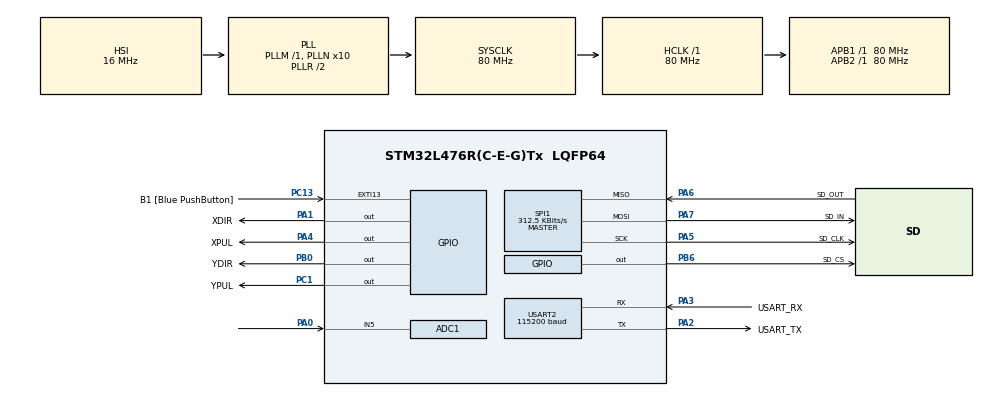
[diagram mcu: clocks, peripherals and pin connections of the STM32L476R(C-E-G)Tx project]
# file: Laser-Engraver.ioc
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ADC1.Channel-1\#ChannelRegularConversion=ADC_CHANNEL_5
ADC1.NbrOfConversionFlag=1
ADC1.OffsetNumber-1\#ChannelRegularConversion=ADC_OFFSET_NONE
ADC1.Rank-1\#ChannelRegularConversion=1
ADC1.SamplingTime-1\#ChannelRegularConversion=ADC_SAMPLETIME_2CYCLES_5
ADC1.master=1
FREERTOS.Tasks01=defaultTask,24,128,StartDefaultTask,Default,NULL,Dynamic,NULL,NULL;turnXMotor,8,128,StartXMotor,Default,NULL,Dynamic,NULL,NULL;turnYMotor,8,128,StartYMotor,Default,NULL,Dynamic,NULL,NULL
FREERTOS.configUSE_NEWLIB_REENTRANT=1
Mcu.Family=STM32L4
Mcu.Name=STM32L476R(C-E-G)Tx
Mcu.Package=LQFP64
NVIC.EXTI15_10_IRQn=true\:5\:0\:false\:false\:true\:true\:true\:true\:true
NVIC.PriorityGroup=NVIC_PRIORITYGROUP_4
NVIC.TIM1_TRG_COM_TIM17_IRQn=true\:5\:0\:false\:false\:true\:true\:true\:true\:true
NVIC.TIM1_UP_TIM16_IRQn=true\:5\:0\:false\:false\:true\:true\:true\:true\:true
NVIC.TIM3_IRQn=true\:15\:0\:false\:false\:true\:false\:false\:true\:true
NVIC.TimeBase=TIM3_IRQn
NVIC.TimeBaseIP=TIM3
PA0.Signal=ADCx_IN5
PA1.GPIO_Label=XDIR
PA1.GPIO_PuPd=GPIO_NOPULL
PA1.PinState=GPIO_PIN_SET
PA1.Signal=GPIO_Output
PA13\ (JTMS-SWDIO).GPIO_Label=TMS
PA13\ (JTMS-SWDIO).Mode=Serial_Wire
PA13\ (JTMS-SWDIO).Signal=SYS_JTMS-SWDIO
PA14\ (JTCK-SWCLK).GPIO_Label=TCK
PA14\ (JTCK-SWCLK).Mode=Serial_Wire
PA14\ (JTCK-SWCLK).Signal=SYS_JTCK-SWCLK
PA2.GPIO_Label=USART_TX
PA2.GPIO_Mode=GPIO_MODE_AF_PP
PA2.GPIO_PuPd=GPIO_NOPULL
PA2.GPIO_Speed=GPIO_SPEED_FREQ_VERY_HIGH
PA2.Mode=Asynchronous
PA2.Signal=USART2_TX
PA3.GPIO_Label=USART_RX
PA3.GPIO_Mode=GPIO_MODE_AF_PP
PA3.GPIO_PuPd=GPIO_NOPULL
PA3.GPIO_Speed=GPIO_SPEED_FREQ_VERY_HIGH
PA3.Mode=Asynchronous
PA3.Signal=USART2_RX
PA4.GPIO_Label=XPUL
PA4.PinState=GPIO_PIN_SET
PA4.Signal=GPIO_Output
PA5.GPIO_Label=SD_CLK
PA5.GPIO_PuPd=GPIO_PULLUP
PA5.Mode=Full_Duplex_Master
PA5.Signal=SPI1_SCK
PA6.GPIO_Label=SD_OUT
PA6.GPIO_PuPd=GPIO_PULLUP
PA6.Mode=Full_Duplex_Master
PA6.Signal=SPI1_MISO
PA7.GPIO_Label=SD_IN
PA7.GPIO_PuPd=GPIO_PULLUP
PA7.Mode=Full_Duplex_Master
PA7.Signal=SPI1_MOSI
PB0.GPIO_Label=YDIR
PB0.PinState=GPIO_PIN_SET
PB0.Signal=GPIO_Output
PB3\ (JTDO-TRACESWO).GPIO_Label=SWO
PB3\ (JTDO-TRACESWO).Signal=SYS_JTDO-SWO
PB6.GPIO_Label=SD_CS
PB6.GPIO_PuPd=GPIO_PULLUP
PB6.PinState=GPIO_PIN_SET
PB6.Signal=GPIO_Output
PC1.GPIO_Label=YPUL
PC1.PinState=GPIO_PIN_SET
PC1.Signal=GPIO_Output
PC13.GPIO_Label=B1 [Blue PushButton]
PC13.GPIO_ModeDefaultEXTI=GPIO_MODE_IT_FALLING
PC13.GPIO_PuPd=GPIO_NOPULL
PC13.Signal=GPXTI13
PC14-OSC32_IN\ (PC14).Mode=LSE-External-Oscillator
PC14-OSC32_IN\ (PC14).Signal=RCC_OSC32_IN
PC15-OSC32_OUT\ (PC15).Mode=LSE-External-Oscillator
PC15-OSC32_OUT\ (PC15).Signal=RCC_OSC32_OUT
PH0-OSC_IN\ (PH0).Signal=RCC_OSC_IN
PH1-OSC_OUT\ (PH1).Signal=RCC_OSC_OUT
ProjectManager.HeapSize=0x200
ProjectManager.StackSize=0x400
ProjectManager.TargetToolchain=STM32CubeIDE
RCC.ADCFreq_Value=64000000
RCC.AHBFreq_Value=80000000
RCC.APB1Freq_Value=80000000
RCC.APB1TimFreq_Value=80000000
RCC.APB2Freq_Value=80000000
RCC.APB2TimFreq_Value=80000000
RCC.CortexFreq_Value=80000000
RCC.HCLKFreq_Value=80000000
RCC.HSE_VALUE=8000000
RCC.HSI_VALUE=16000000
RCC.MSI_VALUE=4000000
RCC.PLLN=10
RCC.PLLSourceVirtual=RCC_PLLSOURCE_HSI
RCC.PREFETCH_ENABLE=1
RCC.SYSCLKFreq_VALUE=80000000
RCC.SYSCLKSource=RCC_SYSCLKSOURCE_PLLCLK
RCC.USBFreq_Value=64000000
RCC.VCOOutputFreq_Value=160000000
SH.ADCx_IN5.0=ADC1_IN5,IN5-Single-Ended
SPI1.BaudRatePrescaler=SPI_BAUDRATEPRESCALER_256
SPI1.CalculateBaudRate=312.5 KBits/s
SPI1.DataSize=SPI_DATASIZE_8BIT
SPI1.Direction=SPI_DIRECTION_2LINES
SPI1.Mode=SPI_MODE_MASTER
SPI1.VirtualType=VM_MASTER
TIM16.Period=50
TIM16.Prescaler=8000
TIM17.Period=50
TIM17.Prescaler=8000
USART2.BaudRate=115200
USART2.VirtualMode-Asynchronous=VM_ASYNC
VP_FATFS_VS_Generic.Mode=User_defined
VP_FREERTOS_VS_CMSIS_V2.Mode=CMSIS_V2
VP_SYS_VS_tim3.Mode=TIM3
VP_TIM16_VS_ClockSourceINT.Mode=Enable_Timer
VP_TIM17_VS_ClockSourceINT.Mode=Enable_Timer
board=NUCLEO-L476RG

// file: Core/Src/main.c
/* USER CODE BEGIN Header */
/**
  ******************************************************************************
  * @file           : main.c
  * @brief          : Main program body
  ******************************************************************************
  * @attention
  *
  * Copyright (c) 2025 STMicroelectronics.
  * All rights reserved.
  *
  * This software is licensed under terms that can be found in the LICENSE file
  * in the root directory of this software component.
  * If no LICENSE file comes with this software, it is provided AS-IS.
  *
  ******************************************************************************
  */
/* USER CODE END Header */
#include "main.h"
#include "cmsis_os.h"
#include "fatfs.h"

ADC_HandleTypeDef hadc1;

SPI_HandleTypeDef hspi1;

TIM_HandleTypeDef htim16;
TIM_HandleTypeDef htim17;

UART_HandleTypeDef huart2;

/* Definitions for defaultTask */
osThreadId_t defaultTaskHandle;
const osThreadAttr_t defaultTask_attributes = {
  .name = "defaultTask",
  .stack_size = 128 * 4,
  .priority = (osPriority_t) osPriorityNormal,
};
/* Definitions for turnXMotor */
osThreadId_t turnXMotorHandle;
const osThreadAttr_t turnXMotor_attributes = {
  .name = "turnXMotor",
  .stack_size = 128 * 4,
  .priority = (osPriority_t) osPriorityLow,
};
/* Definitions for turnYMotor */
osThreadId_t turnYMotorHandle;
const osThreadAttr_t turnYMotor_attributes = {
  .name = "turnYMotor",
  .stack_size = 128 * 4,
  .priority = (osPriority_t) osPriorityLow,
};
/* USER CODE BEGIN PV */
int Xcurrent = 0; // current X coordinate of laser
int Ycurrent = 0; // current Y coordinate of laser
int XDIR;
int YDIR;
int YMotorTime = 1000;
int XMotorTime = 1000;
int Xend = 100;
int Yend = 100;
/* USER CODE END PV */

void SystemClock_Config(void);
static void MX_GPIO_Init(void);
static void MX_USART2_UART_Init(void);
static void MX_ADC1_Init(void);
static void MX_TIM16_Init(void);
static void MX_TIM17_Init(void);
static void MX_SPI1_Init(void);
void StartDefaultTask(void *argument);
void StartXMotor(void *argument);
void StartYMotor(void *argument);

/* USER CODE BEGIN PFP */
void MotorStraightLine();
/* USER CODE END PFP */

int main(void)
{

  /* MCU Configuration--------------------------------------------------------*/

  /* Reset of all peripherals, Initializes the Flash interface and the Systick. */
  HAL_Init();

  /* Configure the system clock */
  SystemClock_Config();

  /* Initialize all configured peripherals */
  MX_GPIO_Init();
  MX_USART2_UART_Init();
  MX_ADC1_Init();
  MX_TIM16_Init();
  MX_TIM17_Init();
  MX_SPI1_Init();
  MX_FATFS_Init();

  /* Init scheduler */
  osKernelInitialize();

  /* Create the thread(s) */
  /* creation of defaultTask */
  defaultTaskHandle = osThreadNew(StartDefaultTask, NULL, &defaultTask_attributes);

  /* creation of turnXMotor */
  turnXMotorHandle = osThreadNew(StartXMotor, NULL, &turnXMotor_attributes);

  /* creation of turnYMotor */
  turnYMotorHandle = osThreadNew(StartYMotor, NULL, &turnYMotor_attributes);

  /* USER CODE BEGIN RTOS_THREADS */
  /* add threads, ... */
  osThreadNew(StartXMotor, "Start X Motor", &turnXMotor_attributes);
  osThreadNew(StartYMotor, "Start Y Motor", &turnYMotor_attributes);
  /* USER CODE END RTOS_THREADS */

  /* Start scheduler */
  osKernelStart();

  /* We should never get here as control is now taken by the scheduler */

  /* Infinite loop */
  /* USER CODE BEGIN WHILE */
  while (1)
  {
	  /**
	  //starts the ADC timer
	  HAL_ADC_Start(&hadc1);
	  //Waits for the conversion to finish
	  HAL_ADC_PollForConversion(&hadc1, HAL_MAX_DELAY);
	  // Reads the value of the ADC and saves it in potValue
	  int potValue = HAL_ADC_GetValue(&hadc1);

	  HAL_GPIO_TogglePin(XPUL_GPIO_Port, XPUL_Pin);
	  // Waits between .1 and 1 second for next pulse
	  HAL_Delay((800 + potValue) / 8);
	  **/

	  /**
	  int numberoflines = 0;
	  for(int i = 0; i<numberoflines; i++)
	  {

	  }
	  **/
	  Xend = 100;
	  Yend = 100;
	  MotorStraightLine();
	  Xend = 0;
	  Yend = 0;
	  MotorStraightLine();

    /* USER CODE END WHILE */

  }
}

void SystemClock_Config(void)
{
  RCC_OscInitTypeDef RCC_OscInitStruct = {0};
  RCC_ClkInitTypeDef RCC_ClkInitStruct = {0};

  /** Configure the main internal regulator output voltage
  */
  if (HAL_PWREx_ControlVoltageScaling(PWR_REGULATOR_VOLTAGE_SCALE1) != HAL_OK)
  {
    Error_Handler();
  }

  /** Initializes the RCC Oscillators according to the specified parameters
  * in the RCC_OscInitTypeDef structure.
  */
  RCC_OscInitStruct.OscillatorType = RCC_OSCILLATORTYPE_HSI;
  RCC_OscInitStruct.HSIState = RCC_HSI_ON;
  RCC_OscInitStruct.HSICalibrationValue = RCC_HSICALIBRATION_DEFAULT;
  RCC_OscInitStruct.PLL.PLLState = RCC_PLL_ON;
  RCC_OscInitStruct.PLL.PLLSource = RCC_PLLSOURCE_HSI;
  RCC_OscInitStruct.PLL.PLLM = 1;
  RCC_OscInitStruct.PLL.PLLN = 10;
  RCC_OscInitStruct.PLL.PLLP = RCC_PLLP_DIV7;
  RCC_OscInitStruct.PLL.PLLQ = RCC_PLLQ_DIV2;
  RCC_OscInitStruct.PLL.PLLR = RCC_PLLR_DIV2;
  if (HAL_RCC_OscConfig(&RCC_OscInitStruct) != HAL_OK)
  {
    Error_Handler();
  }

  /** Initializes the CPU, AHB and APB buses clocks
  */
  RCC_ClkInitStruct.ClockType = RCC_CLOCKTYPE_HCLK|RCC_CLOCKTYPE_SYSCLK
                              |RCC_CLOCKTYPE_PCLK1|RCC_CLOCKTYPE_PCLK2;
  RCC_ClkInitStruct.SYSCLKSource = RCC_SYSCLKSOURCE_PLLCLK;
  RCC_ClkInitStruct.AHBCLKDivider = RCC_SYSCLK_DIV1;
  RCC_ClkInitStruct.APB1CLKDivider = RCC_HCLK_DIV1;
  RCC_ClkInitStruct.APB2CLKDivider = RCC_HCLK_DIV1;

  if (HAL_RCC_ClockConfig(&RCC_ClkInitStruct, FLASH_LATENCY_4) != HAL_OK)
  {
    Error_Handler();
  }
}

static void MX_ADC1_Init(void)
{

  ADC_MultiModeTypeDef multimode = {0};
  ADC_ChannelConfTypeDef sConfig = {0};

  /** Common config
  */
  hadc1.Instance = ADC1;
  hadc1.Init.ClockPrescaler = ADC_CLOCK_ASYNC_DIV1;
  hadc1.Init.Resolution = ADC_RESOLUTION_12B;
  hadc1.Init.DataAlign = ADC_DATAALIGN_RIGHT;
  hadc1.Init.ScanConvMode = ADC_SCAN_DISABLE;
  hadc1.Init.EOCSelection = ADC_EOC_SINGLE_CONV;
  hadc1.Init.LowPowerAutoWait = DISABLE;
  hadc1.Init.ContinuousConvMode = DISABLE;
  hadc1.Init.NbrOfConversion = 1;
  hadc1.Init.DiscontinuousConvMode = DISABLE;
  hadc1.Init.ExternalTrigConv = ADC_SOFTWARE_START;
  hadc1.Init.ExternalTrigConvEdge = ADC_EXTERNALTRIGCONVEDGE_NONE;
  hadc1.Init.DMAContinuousRequests = DISABLE;
  hadc1.Init.Overrun = ADC_OVR_DATA_PRESERVED;
  hadc1.Init.OversamplingMode = DISABLE;
  if (HAL_ADC_Init(&hadc1) != HAL_OK)
  {
    Error_Handler();
  }

  /** Configure the ADC multi-mode
  */
  multimode.Mode = ADC_MODE_INDEPENDENT;
  if (HAL_ADCEx_MultiModeConfigChannel(&hadc1, &multimode) != HAL_OK)
  {
    Error_Handler();
  }

  /** Configure Regular Channel
  */
  sConfig.Channel = ADC_CHANNEL_5;
  sConfig.Rank = ADC_REGULAR_RANK_1;
  sConfig.SamplingTime = ADC_SAMPLETIME_2CYCLES_5;
  sConfig.SingleDiff = ADC_SINGLE_ENDED;
  sConfig.OffsetNumber = ADC_OFFSET_NONE;
  sConfig.Offset = 0;
  if (HAL_ADC_ConfigChannel(&hadc1, &sConfig) != HAL_OK)
  {
    Error_Handler();
  }

}

static void MX_SPI1_Init(void)
{

  /* SPI1 parameter configuration*/
  hspi1.Instance = SPI1;
  hspi1.Init.Mode = SPI_MODE_MASTER;
  hspi1.Init.Direction = SPI_DIRECTION_2LINES;
  hspi1.Init.DataSize = SPI_DATASIZE_8BIT;
  hspi1.Init.CLKPolarity = SPI_POLARITY_LOW;
  hspi1.Init.CLKPhase = SPI_PHASE_1EDGE;
  hspi1.Init.NSS = SPI_NSS_SOFT;
  hspi1.Init.BaudRatePrescaler = SPI_BAUDRATEPRESCALER_256;
  hspi1.Init.FirstBit = SPI_FIRSTBIT_MSB;
  hspi1.Init.TIMode = SPI_TIMODE_DISABLE;
  hspi1.Init.CRCCalculation = SPI_CRCCALCULATION_DISABLE;
  hspi1.Init.CRCPolynomial = 7;
  hspi1.Init.CRCLength = SPI_CRC_LENGTH_DATASIZE;
  hspi1.Init.NSSPMode = SPI_NSS_PULSE_ENABLE;
  if (HAL_SPI_Init(&hspi1) != HAL_OK)
  {
    Error_Handler();
  }

}

static void MX_TIM16_Init(void)
{

  htim16.Instance = TIM16;
  htim16.Init.Prescaler = 8000;
  htim16.Init.CounterMode = TIM_COUNTERMODE_UP;
  htim16.Init.Period = 50;
  htim16.Init.ClockDivision = TIM_CLOCKDIVISION_DIV1;
  htim16.Init.RepetitionCounter = 0;
  htim16.Init.AutoReloadPreload = TIM_AUTORELOAD_PRELOAD_DISABLE;
  if (HAL_TIM_Base_Init(&htim16) != HAL_OK)
  {
    Error_Handler();
  }

}

static void MX_TIM17_Init(void)
{

  htim17.Instance = TIM17;
  htim17.Init.Prescaler = 8000;
  htim17.Init.CounterMode = TIM_COUNTERMODE_UP;
  htim17.Init.Period = 50;
  htim17.Init.ClockDivision = TIM_CLOCKDIVISION_DIV1;
  htim17.Init.RepetitionCounter = 0;
  htim17.Init.AutoReloadPreload = TIM_AUTORELOAD_PRELOAD_DISABLE;
  if (HAL_TIM_Base_Init(&htim17) != HAL_OK)
  {
    Error_Handler();
  }

}

static void MX_USART2_UART_Init(void)
{

  huart2.Instance = USART2;
  huart2.Init.BaudRate = 115200;
  huart2.Init.WordLength = UART_WORDLENGTH_8B;
  huart2.Init.StopBits = UART_STOPBITS_1;
  huart2.Init.Parity = UART_PARITY_NONE;
  huart2.Init.Mode = UART_MODE_TX_RX;
  huart2.Init.HwFlowCtl = UART_HWCONTROL_NONE;
  huart2.Init.OverSampling = UART_OVERSAMPLING_16;
  huart2.Init.OneBitSampling = UART_ONE_BIT_SAMPLE_DISABLE;
  huart2.AdvancedInit.AdvFeatureInit = UART_ADVFEATURE_NO_INIT;
  if (HAL_UART_Init(&huart2) != HAL_OK)
  {
    Error_Handler();
  }

}

static void MX_GPIO_Init(void)
{
  GPIO_InitTypeDef GPIO_InitStruct = {0};

  /* GPIO Ports Clock Enable */
  __HAL_RCC_GPIOC_CLK_ENABLE();
  __HAL_RCC_GPIOH_CLK_ENABLE();
  __HAL_RCC_GPIOA_CLK_ENABLE();
  __HAL_RCC_GPIOB_CLK_ENABLE();

  /*Configure GPIO pin Output Level */
  HAL_GPIO_WritePin(YPUL_GPIO_Port, YPUL_Pin, GPIO_PIN_SET);

  /*Configure GPIO pin Output Level */
  HAL_GPIO_WritePin(GPIOA, XDIR_Pin|XPUL_Pin, GPIO_PIN_SET);

  /*Configure GPIO pin Output Level */
  HAL_GPIO_WritePin(GPIOB, YDIR_Pin|SD_CS_Pin, GPIO_PIN_SET);

  /*Configure GPIO pin : B1_Pin */
  GPIO_InitStruct.Pin = B1_Pin;
  GPIO_InitStruct.Mode = GPIO_MODE_IT_FALLING;
  GPIO_InitStruct.Pull = GPIO_NOPULL;
  HAL_GPIO_Init(B1_GPIO_Port, &GPIO_InitStruct);

  /*Configure GPIO pin : YPUL_Pin */
  GPIO_InitStruct.Pin = YPUL_Pin;
  GPIO_InitStruct.Mode = GPIO_MODE_OUTPUT_PP;
  GPIO_InitStruct.Pull = GPIO_NOPULL;
  GPIO_InitStruct.Speed = GPIO_SPEED_FREQ_LOW;
  HAL_GPIO_Init(YPUL_GPIO_Port, &GPIO_InitStruct);

  /*Configure GPIO pins : XDIR_Pin XPUL_Pin */
  GPIO_InitStruct.Pin = XDIR_Pin|XPUL_Pin;
  GPIO_InitStruct.Mode = GPIO_MODE_OUTPUT_PP;
  GPIO_InitStruct.Pull = GPIO_NOPULL;
  GPIO_InitStruct.Speed = GPIO_SPEED_FREQ_LOW;
  HAL_GPIO_Init(GPIOA, &GPIO_InitStruct);

  /*Configure GPIO pin : YDIR_Pin */
  GPIO_InitStruct.Pin = YDIR_Pin;
  GPIO_InitStruct.Mode = GPIO_MODE_OUTPUT_PP;
  GPIO_InitStruct.Pull = GPIO_NOPULL;
  GPIO_InitStruct.Speed = GPIO_SPEED_FREQ_LOW;
  HAL_GPIO_Init(YDIR_GPIO_Port, &GPIO_InitStruct);

  /*Configure GPIO pin : SD_CS_Pin */
  GPIO_InitStruct.Pin = SD_CS_Pin;
  GPIO_InitStruct.Mode = GPIO_MODE_OUTPUT_PP;
  GPIO_InitStruct.Pull = GPIO_PULLUP;
  GPIO_InitStruct.Speed = GPIO_SPEED_FREQ_LOW;
  HAL_GPIO_Init(SD_CS_GPIO_Port, &GPIO_InitStruct);

  /* EXTI interrupt init*/
  HAL_NVIC_SetPriority(EXTI15_10_IRQn, 5, 0);
  HAL_NVIC_EnableIRQ(EXTI15_10_IRQn);

}

/* USER CODE BEGIN 4 */
void MotorStraightLine() {
	if (Xend > Xcurrent){
		XDIR = 1;
		HAL_GPIO_WritePin(XDIR_GPIO_Port, XDIR_Pin, 1);
	} else {
		HAL_GPIO_WritePin(XDIR_GPIO_Port, XDIR_Pin, 0);
		XDIR = 0;
	}
	if (Yend > Ycurrent){
		YDIR = 1;
		HAL_GPIO_WritePin(YDIR_GPIO_Port, YDIR_Pin, 1);
	} else {
		YDIR = 0;
		HAL_GPIO_WritePin(YDIR_GPIO_Port, YDIR_Pin, 0);
	}

	//osThreadResume(turnXMotorHandle);
	//osThreadResume(turnYMotorHandle);

}

/* USER CODE END 4 */

void StartDefaultTask(void *argument)
{
  /* USER CODE BEGIN 5 */

  /* Infinite loop */
  for(;;)
  {
    osDelay(1);
	Xend = 100;
	Yend = 100;
	XDIR = 1;
	YDIR = 1;
	osDelay(1000);
  }
  /* USER CODE END 5 */
}

void StartXMotor(void *argument)
{
  /* USER CODE BEGIN StartXMotor */
  /* Infinite loop */
  for(;;)
  {
	if (Xend != Xcurrent){
		HAL_GPIO_TogglePin(XPUL_GPIO_Port, XPUL_Pin);
	    osDelay(XMotorTime/2);
	    HAL_GPIO_TogglePin(XPUL_GPIO_Port, XPUL_Pin);
	    osDelay(XMotorTime/2);
	    if (XDIR == 0)
	    {
	    	Xcurrent -= 1;
	    }
	    else
	    {
	    	Xcurrent += 1;
	    }
	}
	osDelay(1);
  }
  /* USER CODE END StartXMotor */
}

void StartYMotor(void *argument)
{
  /* USER CODE BEGIN StartYMotor */
  /* Infinite loop */
  for(;;)
  {
	if (Yend != Ycurrent){
		HAL_GPIO_TogglePin(YPUL_GPIO_Port, YPUL_Pin);
		osDelay(YMotorTime/2);
		HAL_GPIO_TogglePin(YPUL_GPIO_Port, YPUL_Pin);
		osDelay(YMotorTime/2);
		if (YDIR == 0)
		{
			Ycurrent -= 1;
		}
		else
		{
			Ycurrent += 1;
		}
	}
	osDelay(1);
  }
  /* USER CODE END StartYMotor */
}

void HAL_TIM_PeriodElapsedCallback(TIM_HandleTypeDef *htim)
{
  if (htim->Instance == TIM3) {
    HAL_IncTick();
  }
  /* USER CODE BEGIN Callback 1 */
	if (htim == &htim16)
	{
		HAL_GPIO_TogglePin(XPUL_GPIO_Port, XPUL_Pin);
		if (XDIR == 1)
		{
			Xcurrent ++;
		} else {
			Xcurrent --;
		}
	}
	if (htim == &htim17)
	{
		HAL_GPIO_TogglePin(YPUL_GPIO_Port, YPUL_Pin);
		if (YDIR == 1)
		{
			Ycurrent ++;
		} else {
			Ycurrent --;
		}
	}
  /* USER CODE END Callback 1 */
}

void Error_Handler(void)
{
  __disable_irq();
  while (1)
  {
  }
}
